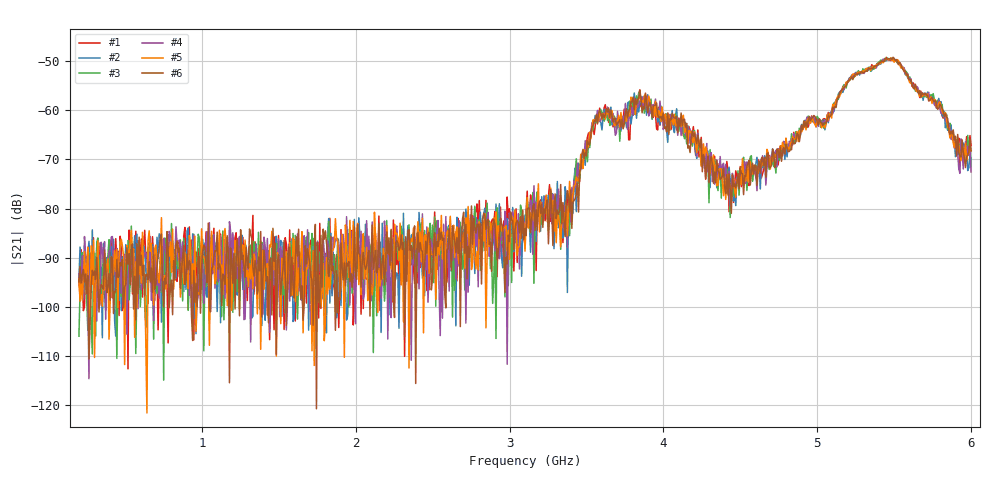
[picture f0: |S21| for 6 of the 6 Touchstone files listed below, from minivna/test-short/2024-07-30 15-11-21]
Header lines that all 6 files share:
! NanoVNA-App by OneOfEleven et al v1.1.209 (+OD15)
! Start: 200MHz Stop: 6GHz Points: 801
! S-Parameter data: F S11 S21 S12 S22
# Hz S RI R 50
!  Frequency  S11_Real  S11_Imag  S21_Real  S21_Imag  S12_Real  S12_Imag  S22_Real  S22_Imag
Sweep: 200 MHz to 6 GHz
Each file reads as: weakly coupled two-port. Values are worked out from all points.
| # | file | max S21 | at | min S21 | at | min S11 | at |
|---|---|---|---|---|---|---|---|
| 1 | 1.s2p | -49.19 dB | 5.449 GHz | -112.7 dB | 519 MHz | -3.5 dB | 2.882 GHz |
| 2 | 3.s2p | -49.38 dB | 5.456 GHz | -106.3 dB | 352.2 MHz | -3.5 dB | 2.89 GHz |
| 3 | 4.s2p | -49.35 dB | 5.478 GHz | -115.0 dB | 751 MHz | -3.5 dB | 2.89 GHz |
| 4 | 6.s2p | -49.42 dB | 5.485 GHz | -114.7 dB | 265.2 MHz | -3.5 dB | 2.89 GHz |
| 5 | 7.s2p | -49.32 dB | 5.478 GHz | -121.7 dB | 642.2 MHz | -3.5 dB | 2.882 GHz |
| 6 | 8.s2p | -49.18 dB | 5.492 GHz | -120.8 dB | 1.744 GHz | -3.5 dB | 2.89 GHz |
